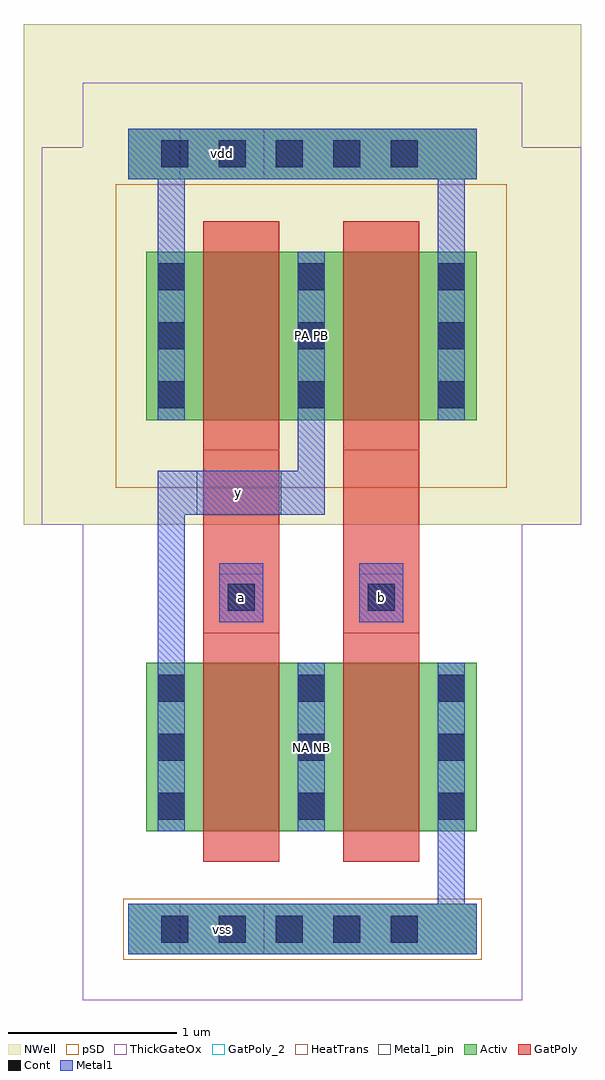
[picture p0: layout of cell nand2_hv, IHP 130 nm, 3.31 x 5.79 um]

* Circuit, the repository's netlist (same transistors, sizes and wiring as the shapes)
* SPDX-FileCopyrightText: 2026 Christoph Maier
* SPDX-License-Identifier: Apache-2.0
* nand2_hv (Claude, agent D, C4 2026-11-07). hv devices 1u/0.45u; every device as drawn.

.SUBCKT nand2_hv a b vdd vss y
MPA y a vdd vdd sg13_hv_pmos w=1u l=0.45u ng=1 m=1
MPB y b vdd vdd sg13_hv_pmos w=1u l=0.45u ng=1 m=1
MNA y a n1 vss sg13_hv_nmos w=1u l=0.45u ng=1 m=1
MNB n1 b vss vss sg13_hv_nmos w=1u l=0.45u ng=1 m=1
.ENDS nand2_hv

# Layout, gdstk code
import gdstk
lib = gdstk.Library(unit=1e-6, precision=1e-09)
def R(c, l, rs):  # rectangles x0, y0, x1, y1
    for r in rs: c.add(gdstk.rectangle(r[:2], r[2:], *l))
def A(c, l, x, y, w, h, nx, ny, dx, dy):  # array of equal rectangles
    R(c, l, [(x+i*dx, y+j*dy, x+i*dx+w, y+j*dy+h) for i in range(nx) for j in range(ny)])
Activ = (1, 0)
GatPoly = (5, 0)
GatPoly_2 = (5, 2)
Cont = (6, 0)
Metal1 = (8, 0)
Metal1_pin = (8, 2)
pSD = (14, 0)
NWell = (31, 0)
ThickGateOx = (44, 0)
HeatTrans = (51, 0)

pmoshv_w2_l0p45_ng2 = lib.new_cell('pmosHV_w2_l0p45_ng2')
A(pmoshv_w2_l0p45_ng2, Activ, 0, 0, 0.3, 0.3, 3, 1, 0.83, 0)
R(pmoshv_w2_l0p45_ng2, Activ, [(0,0,1.96,1)])
R(pmoshv_w2_l0p45_ng2, GatPoly, [(0.34,-0.18,0.79,1.18), (1.17,-0.18,1.62,1.18)])
R(pmoshv_w2_l0p45_ng2, GatPoly_2, [(0.34,-0.18,0.79,1.18)])
A(pmoshv_w2_l0p45_ng2, Cont, 0.07, 0.07, 0.16, 0.16, 3, 3, 0.83, 0.35)
A(pmoshv_w2_l0p45_ng2, Metal1, 0.07, 0, 0.16, 1, 3, 1, 0.83, 0)
R(pmoshv_w2_l0p45_ng2, Metal1_pin, [(0.07,0,0.23,1), (0.9,0,1.06,1)])
R(pmoshv_w2_l0p45_ng2, pSD, [(-0.18,-0.4,2.14,1.4)])
R(pmoshv_w2_l0p45_ng2, NWell, [(-0.62,-0.62,2.58,1.62)])
R(pmoshv_w2_l0p45_ng2, ThickGateOx, [(-0.62,-0.62,2.58,1.62)])
R(pmoshv_w2_l0p45_ng2, HeatTrans, [(0.34,-0.18,0.79,1.18), (1.17,-0.18,1.62,1.18)])
pmoshv_w2_l0p45_ng2.add(gdstk.Label('pmosHV', (0.565,0.5), layer=63, texttype=0))
pmoshv_w2_l0p45_ng2.add(gdstk.Label('pmos', (0.565,0.5), layer=51, texttype=0))
pmoshv_w2_l0p45_ng2.add(gdstk.Label('pmos', (1.395,0.5), layer=51, texttype=0))

nmoshv_w2_l0p45_ng2 = lib.new_cell('nmosHV_w2_l0p45_ng2')
A(nmoshv_w2_l0p45_ng2, Activ, 0, 0, 0.3, 0.3, 3, 1, 0.83, 0)
R(nmoshv_w2_l0p45_ng2, Activ, [(0,0,1.96,1)])
R(nmoshv_w2_l0p45_ng2, GatPoly, [(0.34,-0.18,0.79,1.18), (1.17,-0.18,1.62,1.18)])
R(nmoshv_w2_l0p45_ng2, GatPoly_2, [(0.34,-0.18,0.79,1.18)])
A(nmoshv_w2_l0p45_ng2, Cont, 0.07, 0.07, 0.16, 0.16, 3, 3, 0.83, 0.35)
A(nmoshv_w2_l0p45_ng2, Metal1, 0.07, 0, 0.16, 1, 3, 1, 0.83, 0)
R(nmoshv_w2_l0p45_ng2, Metal1_pin, [(0.07,0,0.23,1), (0.9,0,1.06,1)])
R(nmoshv_w2_l0p45_ng2, ThickGateOx, [(-0.27,-0.52,2.23,1.52)])
R(nmoshv_w2_l0p45_ng2, HeatTrans, [(0.34,-0.18,0.79,1.18), (1.17,-0.18,1.62,1.18)])
nmoshv_w2_l0p45_ng2.add(gdstk.Label('nmosHV', (0.565,0.5), layer=63, texttype=0))
nmoshv_w2_l0p45_ng2.add(gdstk.Label('nmosHV', (0.565,0.5), layer=51, texttype=0))
nmoshv_w2_l0p45_ng2.add(gdstk.Label('nmosHV', (1.395,0.5), layer=51, texttype=0))

nand2_hv = lib.new_cell('nand2_hv')
R(nand2_hv, Activ, [(-0.105,0,1.96,0.3), (-0.105,4.6,1.96,4.9)])
R(nand2_hv, GatPoly, [(0.34,1.91,0.79,2.99), (1.17,1.91,1.62,2.99)])
A(nand2_hv, Cont, 0.09, 0.07, 0.16, 0.16, 5, 2, 0.34, 4.6)
R(nand2_hv, Cont, [(0.485,2.04,0.645,2.2), (1.315,2.04,1.475,2.2)])
R(nand2_hv, Metal1, [(-0.105,0,1.96,0.3), (1.73,0.3,1.89,0.73), (0.07,1.73,0.23,2.87), (0.435,1.97,0.695,2.32), (1.265,1.97,1.525,2.32), (0.07,2.61,1.06,2.87), (0.9,2.61,1.06,3.17), (0.07,4.17,0.23,4.6), (1.73,4.17,1.89,4.6), (-0.105,4.6,1.96,4.9)])
R(nand2_hv, Metal1_pin, [(0.2,0,0.7,0.3), (0.435,1.97,0.695,2.26), (1.265,1.97,1.525,2.26), (0.3,2.61,0.8,2.87), (0.2,4.6,0.7,4.9)])
R(nand2_hv, pSD, [(-0.135,-0.03,1.99,0.33)])
R(nand2_hv, NWell, [(-0.725,2.55,2.58,5.52)])
R(nand2_hv, ThickGateOx, [(-0.375,-0.27,2.23,5.17)])
nand2_hv.add(gdstk.Reference(pmoshv_w2_l0p45_ng2, (0,3.17)))
nand2_hv.add(gdstk.Reference(nmoshv_w2_l0p45_ng2, (0,0.73)))
nand2_hv.add(gdstk.Label('a', (0.565,2.115), layer=8, texttype=25))
nand2_hv.add(gdstk.Label('b', (1.395,2.115), layer=8, texttype=25))
nand2_hv.add(gdstk.Label('y', (0.55,2.74), layer=8, texttype=25))
nand2_hv.add(gdstk.Label('vdd', (0.45,4.75), layer=8, texttype=25))
nand2_hv.add(gdstk.Label('vss', (0.45,0.15), layer=8, texttype=25))
nand2_hv.add(gdstk.Label('PA PB', (0.98,3.67), layer=63, texttype=0))
nand2_hv.add(gdstk.Label('NA NB', (0.98,1.23), layer=63, texttype=0))

lib.write_gds('nand2_hv.gds')
